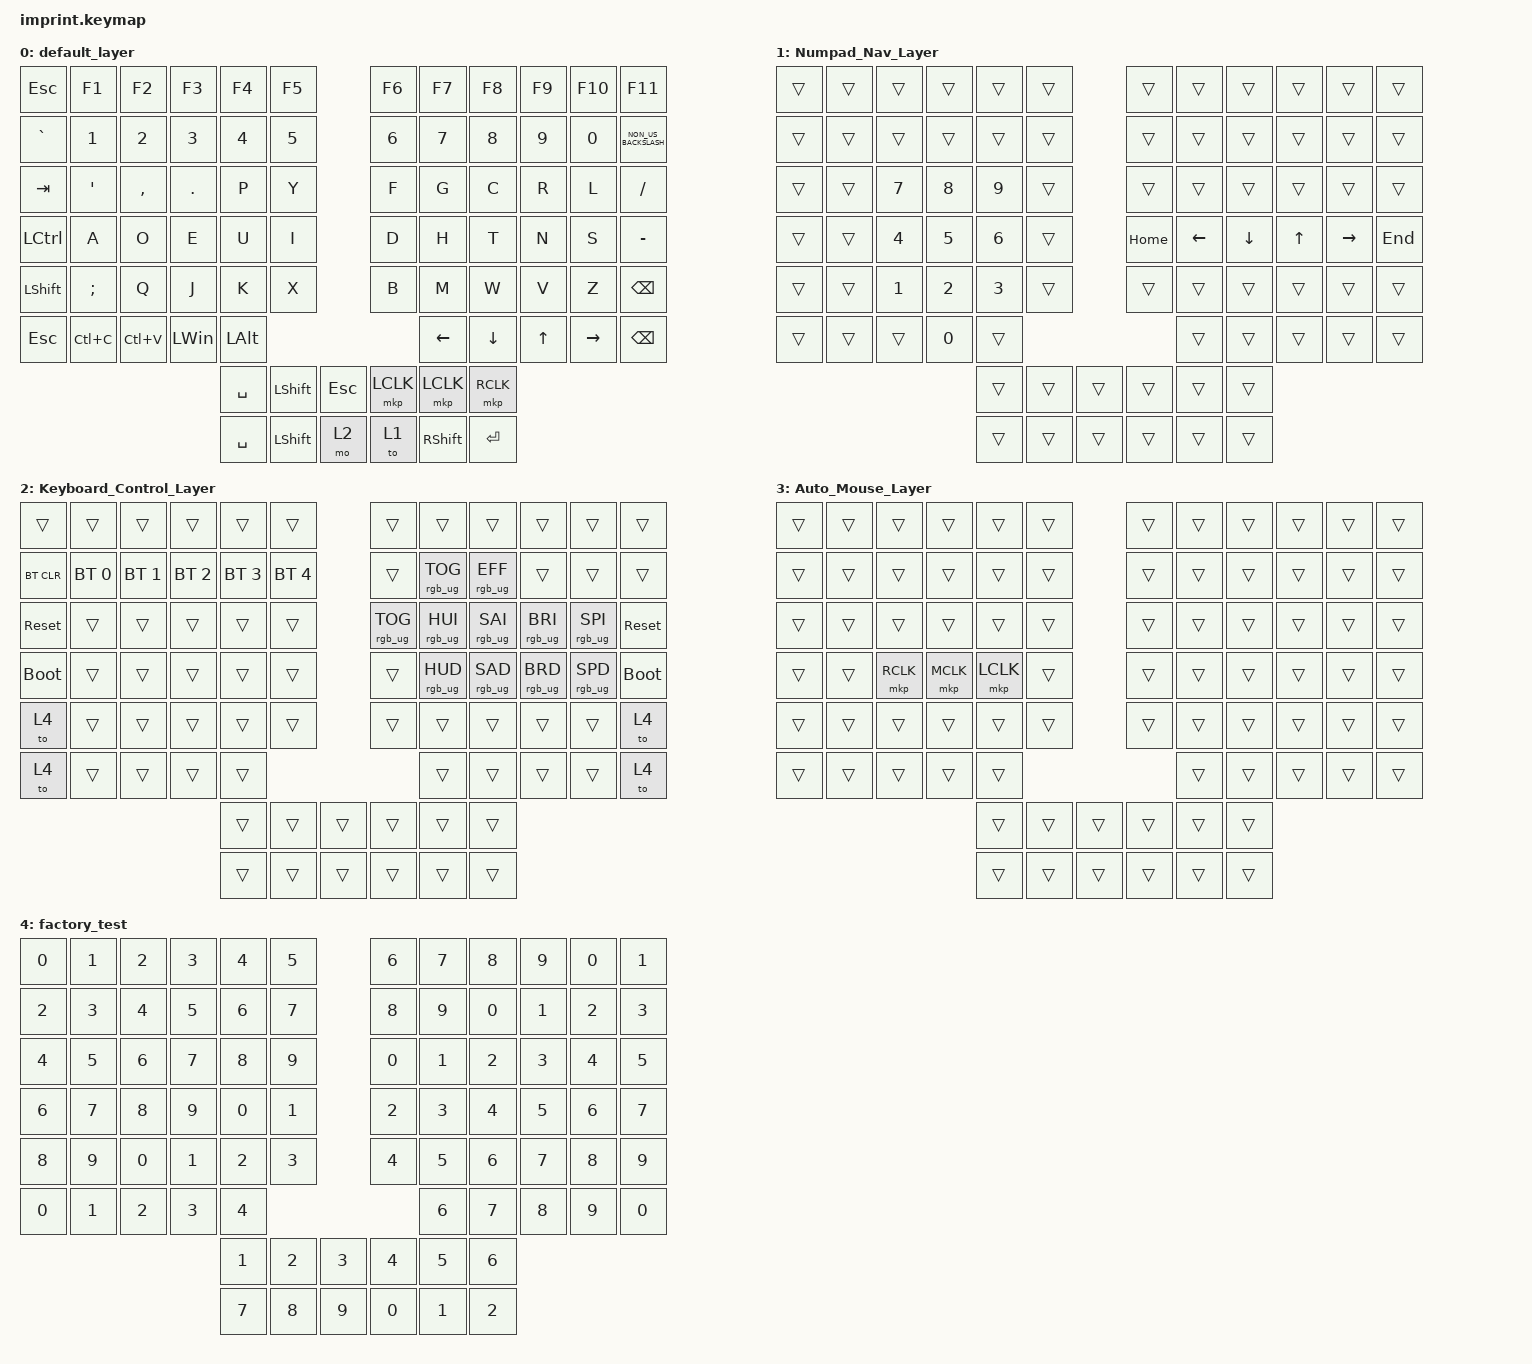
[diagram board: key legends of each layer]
#include <input/processors.dtsi>
#include <dt-bindings/zmk/input_transform.h>
#include <behaviors.dtsi>
#include <dt-bindings/zmk/bt.h>
#include <dt-bindings/zmk/keys.h>
#include <dt-bindings/zmk/pointing.h>
#include <dt-bindings/zmk/rgb.h>

/ {
    chosen { zmk,matrix-transform = &imprint_function_row_full_bottom_row; };

    keymap {
        compatible = "zmk,keymap";

        default_layer {
            bindings = <
&kp ESC     &kp F1         &kp F2     &kp F3        &kp F4        &kp F5                     &kp F6     &kp F7           &kp F8     &kp F9  &kp F10    &kp F11
&kp GRAVE   &kp N1         &kp N2     &kp N3        &kp N4        &kp N5                     &kp N6     &kp N7           &kp N8     &kp N9  &kp N0     &kp NON_US_BACKSLASH
&kp TAB     &kp SQT        &kp COMMA  &kp PERIOD    &kp P         &kp Y                      &kp F      &kp G            &kp C      &kp R   &kp L      &kp SLASH
&kp LCTRL   &kp A          &kp O      &kp E         &kp U         &kp I                      &kp D      &kp H            &kp T      &kp N   &kp S      &kp MINUS
&kp LSHFT   &kp SEMICOLON  &kp Q      &kp J         &kp K         &kp X                      &kp B      &kp M            &kp W      &kp V   &kp Z      &kp BACKSPACE
&kp ESCAPE  &kp LC(C)      &kp LC(V)  &kp LEFT_WIN  &kp LEFT_ALT                                        &kp LEFT         &kp DOWN   &kp UP  &kp RIGHT  &kp BACKSPACE
                                                    &kp SPACE     &kp LEFT_SHIFT  &kp ESC    &mkp LCLK  &mkp LCLK        &mkp RCLK
                                                    &kp SPACE     &kp LEFT_SHIFT  &mo 2      &to 1      &kp RIGHT_SHIFT  &kp ENTER
            >;
        };

        Numpad_Nav_Layer {
            bindings = <
&trans  &trans  &trans  &trans  &trans  &trans            &trans    &trans    &trans    &trans  &trans     &trans
&trans  &trans  &trans  &trans  &trans  &trans            &trans    &trans    &trans    &trans  &trans     &trans
&trans  &trans  &kp N7  &kp N8  &kp N9  &trans            &trans    &trans    &trans    &trans  &trans     &trans
&trans  &trans  &kp N4  &kp N5  &kp N6  &trans            &kp HOME  &kp LEFT  &kp DOWN  &kp UP  &kp RIGHT  &kp END
&trans  &trans  &kp N1  &kp N2  &kp N3  &trans            &trans    &trans    &trans    &trans  &trans     &trans
&trans  &trans  &trans  &kp N0  &trans                              &trans    &trans    &trans  &trans     &trans
                                &trans  &trans  &trans    &trans    &trans    &trans
                                &trans  &trans  &trans    &trans    &trans    &trans
            >;
        };

        Keyboard_Control_Layer {
            bindings = <
&trans       &trans        &trans        &trans        &trans        &trans                  &trans           &trans           &trans           &trans           &trans           &trans
&bt BT_CLR   &bt BT_SEL 0  &bt BT_SEL 1  &bt BT_SEL 2  &bt BT_SEL 3  &bt BT_SEL 4            &trans           &rgb_ug RGB_TOG  &rgb_ug RGB_EFF  &trans           &trans           &trans
&sys_reset   &trans        &trans        &trans        &trans        &trans                  &rgb_ug RGB_TOG  &rgb_ug RGB_HUI  &rgb_ug RGB_SAI  &rgb_ug RGB_BRI  &rgb_ug RGB_SPI  &sys_reset
&bootloader  &trans        &trans        &trans        &trans        &trans                  &trans           &rgb_ug RGB_HUD  &rgb_ug RGB_SAD  &rgb_ug RGB_BRD  &rgb_ug RGB_SPD  &bootloader
&to 4        &trans        &trans        &trans        &trans        &trans                  &trans           &trans           &trans           &trans           &trans           &to 4
&to 4        &trans        &trans        &trans        &trans                                                 &trans           &trans           &trans           &trans           &to 4
                                                       &trans        &trans        &trans    &trans           &trans           &trans
                                                       &trans        &trans        &trans    &trans           &trans           &trans
            >;
        };

        Auto_Mouse_Layer {
            bindings = <
&trans  &trans  &trans     &trans     &trans     &trans            &trans  &trans  &trans  &trans  &trans  &trans
&trans  &trans  &trans     &trans     &trans     &trans            &trans  &trans  &trans  &trans  &trans  &trans
&trans  &trans  &trans     &trans     &trans     &trans            &trans  &trans  &trans  &trans  &trans  &trans
&trans  &trans  &mkp RCLK  &mkp MCLK  &mkp LCLK  &trans            &trans  &trans  &trans  &trans  &trans  &trans
&trans  &trans  &trans     &trans     &trans     &trans            &trans  &trans  &trans  &trans  &trans  &trans
&trans  &trans  &trans     &trans     &trans                               &trans  &trans  &trans  &trans  &trans
                                      &trans     &trans  &trans    &trans  &trans  &trans
                                      &trans     &trans  &trans    &trans  &trans  &trans
            >;
        };

        factory_test {
            bindings = <
&kp N0  &kp N1  &kp N2  &kp N3  &kp N4  &kp N5            &kp N6  &kp N7  &kp N8  &kp N9  &kp N0  &kp N1
&kp N2  &kp N3  &kp N4  &kp N5  &kp N6  &kp N7            &kp N8  &kp N9  &kp N0  &kp N1  &kp N2  &kp N3
&kp N4  &kp N5  &kp N6  &kp N7  &kp N8  &kp N9            &kp N0  &kp N1  &kp N2  &kp N3  &kp N4  &kp N5
&kp N6  &kp N7  &kp N8  &kp N9  &kp N0  &kp N1            &kp N2  &kp N3  &kp N4  &kp N5  &kp N6  &kp N7
&kp N8  &kp N9  &kp N0  &kp N1  &kp N2  &kp N3            &kp N4  &kp N5  &kp N6  &kp N7  &kp N8  &kp N9
&kp N0  &kp N1  &kp N2  &kp N3  &kp N4                            &kp N6  &kp N7  &kp N8  &kp N9  &kp N0
                                &kp N1  &kp N2  &kp N3    &kp N4  &kp N5  &kp N6
                                &kp N7  &kp N8  &kp N9    &kp N0  &kp N1  &kp N2
            >;
        };
    };
};

// right hand trackball configuration
// &trackball_peripheral_listener {
//    input-processors =
//     activate layer 3 within 500ms of the trackball moving
//     <&zip_temp_layer 3 500>;
// };
//left hand trackball configuration

&trackball_central_listener {
    input-processors =
        // multiply sensitivity by 1, divide by 3 (make it slower for scrolling),,,,,,
        <&zip_xy_scaler 1 3>,
        // make this trackball output scrolling events by default instead of cursor movement,,,,,,
        <&zip_xy_to_scroll_mapper>,
        // invert vertical scrolling so that the view moves in the same direction as the top of the trackball.,,,,,,
        <&zip_scroll_transform INPUT_TRANSFORM_Y_INVERT>;
};
